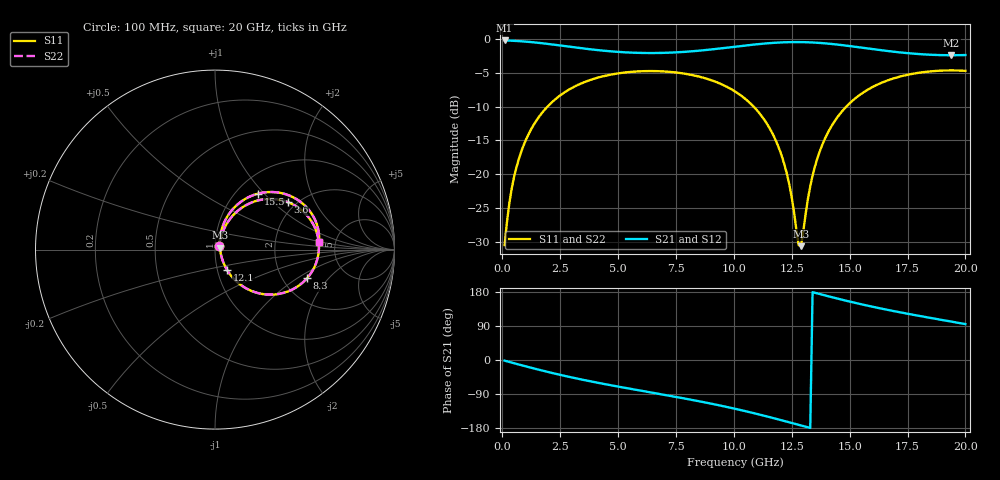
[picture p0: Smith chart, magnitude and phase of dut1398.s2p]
! Touchstone file exported from HFSS 2026.1.0
!  File:  C:/ffzhzh/LocalFiles/Ansys_Project_Files/temp_train_TSV_RDL_1398_1783351159_4416.aedt
!  Generated:  11:28:33 PM Jul  6, 2026
!  Design:  TSV_RDL
!  Project:  temp_train_TSV_RDL_1398_1783351159_4416
! Variables:
!  h_bsmrdl = 4.01um
!  h_ox = 20um
!  h_rdl = 5um
!  h_sub = 82.26um
!  h_tmrdl = 4.39um
!  h_tsv = 82.26um
!  h_via = 3um
!  l_bsmrdl = 298.67um
!  l_sub = 4291.29um
!  l_tmrdl = 726.68um
!  m_sub = 200um
!  pitch = 49.8um
!  r_tsv = 12.66um
!  s_tmrdl = 10um
!  w_bsmrdl = 16.38um
!  w_sub = 500um
!  w_tmrdl = 13.14um
!  x_tsv_center1 = 733.25um
!  x_tsv_center2 = 1048.3um
!  x_tsv_center3 = 1788.12um
!  x_tsv_center4 = 2103.17um
!  x_tsv_center5 = 2842.99um
!  x_tsv_center6 = 3158.04um
# GHz S MA R 50.000000
! Terminal data exported
! Port[1] = TM_RDL1_1_T1
! Port[2] = TM_RDL5_1_T1
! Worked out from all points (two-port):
!   200 points, 100 MHz to 20 GHz, reference 50 ohm
!   highest |S21| = -0.21 dB at 100 MHz (marker M1); lowest = -2.4 dB at 19.4 GHz (marker M2)
!   |S21| within 3 dB of the highest: start of sweep to end of sweep
!   lowest |S11| = -30.7 dB at 12.9 GHz (marker M3), VSWR 1.06, Z = 52.8 + j1.1 ohm
!   |S11| at or under -10 dB: start of sweep to 1.953 GHz; 10.85 GHz to 14.86 GHz (4.006 GHz wide, 31.2 % of centre)
!   |S22| runs from -30.6 to -4.6 dB; largest |S21 - S12| = 1.5e-14
!   S11 on the Smith chart (normalised r, x): 100 MHz: 1.05, +0.04; 3.6 GHz: 1.81, +1.25; 8.3 GHz: 2.71, -1.21; 12.1 GHz: 1.11, -0.26; 15.5 GHz: 1.25, +0.92; 20 GHz: 3.72, +0.48
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0.1  0.02981 37.1  0.9766 -1.7  0.9766 -1.7  0.02981 37.1
! Gamma 0 0 0 0
! Port Impedance 50 0 50 0
0.3  0.06026 61.1  0.9741 -5.1  0.9741 -5.1  0.06026 61.1
0.5  0.09374 65.8  0.9705 -8.4  0.9705 -8.4  0.09374 65.8
1.1  0.192 63.8  0.9549 -18.2  0.9549 -18.2  0.192 63.8
2.1  0.3352 51.8  0.9149 -33.5  0.9149 -33.5  0.3352 51.8
3.5  0.4764 34.3  0.8518 -52.5  0.8518 -52.5  0.4764 34.4
3.6  0.4839 33.2  0.8477 -53.7  0.8477 -53.7  0.4839 33.2
5.2  0.5631 15.3  0.7995 -72.4  0.7995 -72.4  0.563 15.3
6.8  0.5778 -1.3  0.7892 -89.8  0.7892 -89.8  0.5778 -1.3
8.3  0.5372 -17.3  0.8146 -106.5  0.8146 -106.5  0.5372 -17.3
10.1  0.4044 -38.3  0.8794 -129.3  0.8794 -129.3  0.4044 -38.3
11.3  0.2549 -53.1  0.9255 -146.9  0.9255 -146.9  0.2549 -53.0
12.1  0.1314 -59.3  0.9455 -159.6  0.9455 -159.6  0.1314 -59.3
12.5  0.06717 -53.3  0.9498 -166.2  0.9498 -166.2  0.06723 -53.1
12.8  0.02977 -11.4  0.9502 -171.1  0.9502 -171.1  0.02991 -11.3
12.9  0.02928 20.9  0.9498 -172.7  0.9498 -172.7  0.02943 20.8
13.4  0.0974 70.7  0.9435 179.1  0.9435 179.1  0.09745 70.6
14.2  0.2238 67.9  0.9209 166.3  0.9209 166.3  0.2238 67.9
15.5  0.3928 52.5  0.865 147.1  0.865 147.1  0.3928 52.5
16.7  0.4983 38.4  0.8134 131.5  0.8134 131.5  0.4982 38.4
19.4  0.5861 10.2  0.759 101.3  0.759 101.3  0.5861 10.2
20  0.5819 4.2  0.7618 94.8  0.7618 94.8  0.5819 4.2
